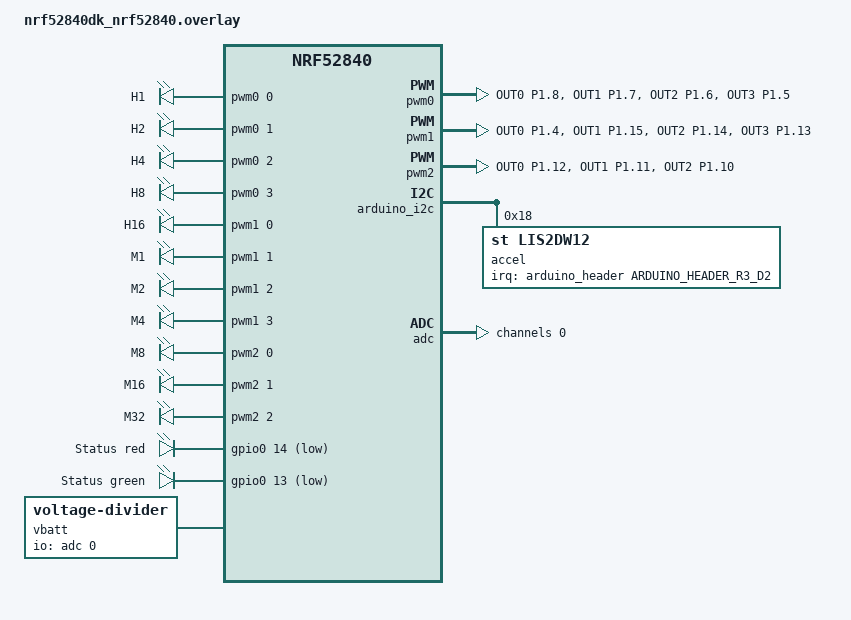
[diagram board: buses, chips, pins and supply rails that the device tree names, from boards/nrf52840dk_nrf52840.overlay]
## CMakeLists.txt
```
# SPDX-License-Identifier: Apache-2.0

cmake_minimum_required(VERSION 3.20.0)

find_package(Zephyr REQUIRED HINTS $ENV{ZEPHYR_BASE})
project(ble_watch)

target_sources(app PRIVATE 
    src/main.c 
    src/clock.c 
    src/ble.c 
    src/face.c 
    src/accel.c 
    src/battery.c 
    src/heartbeat.c
)
```

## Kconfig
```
# Options of this app. They appear in menuconfig under "ble-watch" and are
# set in prj.conf like any Zephyr option (CONFIG_FACE_BRIGHTNESS=...).

menu "ble-watch"

config FACE_BRIGHTNESS
	int "LED face brightness, in percent"
	range 1 100
	default 50
	help
	  PWM duty cycle of a lit face LED. Lower = dimmer and less current.

config HEARTBEAT_PERIOD_S
	int "Heartbeat period, in seconds"
	range 2 3600
	default 60
	help
	  The status LED flashes once per period, in the battery colour.

config HEARTBEAT_FLASH_MS
	int "Heartbeat flash length, in milliseconds"
	range 1 1000
	default 100

config BATTERY_LOW_MV
	int "Low battery voltage, in mV"
	range 3000 4200
	default 3600
	help
	  Below this voltage the heartbeat flashes red (LiPo about < 15 %), otherwise green.

config BATTERY_HYSTERESIS_MV
	int "Low battery hysteresis, in mV"
	range 0 500
	default 50
	help
	  Once red, the heartbeat goes back to green only at or above
	  BATTERY_LOW_MV + this value. Stops red/green flicker when the
	  battery sits right at the threshold.

endmenu

# Zephyr's own options. Every app Kconfig file must end with this.
source "Kconfig.zephyr"
```

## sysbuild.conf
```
# Sysbuild builds several images together. This adds MCUboot as a second image
# that runs first at reset, checks the app's signature, and then starts it.
SB_CONFIG_BOOTLOADER_MCUBOOT=y

# Signature type (also the NCS default on the nRF52840). The image is signed
# with MCUboot's public demo key (root-ec-p256.pem); Step 4b replaces it with our own key.
SB_CONFIG_BOOT_SIGNATURE_TYPE_ECDSA_P256=y
```

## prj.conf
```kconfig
# GPIO driver (accelerometer interrupt, status LED)
CONFIG_GPIO=y

# LED API for the binary face. The PWM LED driver (and the PWM driver) turn on
# by themselves, because the overlay has "pwm-leds" nodes.
CONFIG_LED=y

# LIS2DW12 accelerometer (node in the overlay). The driver (CONFIG_LIS2DW12)
# and I2C turn on by themselves from the devicetree. We add the sensor API, the
# interrupt (trigger) support handled in the system work queue, and tap events.
CONFIG_SENSOR=y
CONFIG_LIS2DW12_TRIGGER_GLOBAL_THREAD=y
CONFIG_LIS2DW12_TAP=y

# Logging, printed on the UART console (DK's USB serial, 115200 baud)
CONFIG_LOG=y
CONFIG_LOG_DEFAULT_LEVEL=3

# Bluetooth LE peripheral (NCS uses Nordic's SoftDevice Controller as the link layer)
CONFIG_BT=y
CONFIG_BT_PERIPHERAL=y
CONFIG_BT_DEVICE_NAME="ble-watch"

# Zephyr's Current Time Service (0x1805); our callbacks are in src/ble.c
CONFIG_BT_CTS=y

# Firmware updates over BLE: MCUmgr with the SMP service, the BT transport and the
# image group (writes the new image to slot 1). NCS helper option from
# nrf/samples/common/mcumgr_bt_ota_dfu. Used with the nRF Connect Device Manager app.
CONFIG_NCS_SAMPLE_MCUMGR_BT_OTA_DFU=y

# Version written in the image header by the signing step; shown in Device Manager.
CONFIG_MCUBOOT_IMGTOOL_SIGN_VERSION="0.1.0+0"
```

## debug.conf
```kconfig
# Extra Kconfig for debugging with GDB. Use it on top of prj.conf:
#   west build -b nrf52840dk/nrf52840 app -p -- -DEXTRA_CONF_FILE=debug.conf

# -Og instead of -Os: code follows the source, variables stay visible
CONFIG_DEBUG_OPTIMIZATIONS=y

# Let the debugger see Zephyr threads, with their names
CONFIG_DEBUG_THREAD_INFO=y
CONFIG_THREAD_NAME=y

# Stop on a failed __ASSERT() instead of running with bad state
CONFIG_ASSERT=y
```

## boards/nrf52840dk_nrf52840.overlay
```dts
/*
 * App overlay for the nRF52840 DK, applied after the board devicetree.
 *
 * Binary LED face: 11 yellow LEDs on the Arduino header, each driven by one
 * PWM channel (wiring: pin -> resistor -> LED -> GND, so "high" = on).
 * Pinout table: docs/hardware.md.
 *
 * PWM pins are set through pinctrl (NRF_PSEL), which takes real nRF pin
 * numbers, not Arduino names. The Arduino name is in each comment.
 *
 * The nRF52840 has 4 PWM instances with 4 channels each. We use 11 channels:
 *   pwm0 ch0-3: hours   bit 0-3
 *   pwm1 ch0:   hours   bit 4
 *   pwm1 ch1-3: minutes bit 0-2
 *   pwm2 ch0-2: minutes bit 3-5
 */

#include <zephyr/dt-bindings/pwm/pwm.h>
#include <zephyr/dt-bindings/gpio/arduino-header-r3.h>
#include <zephyr/dt-bindings/sensor/lis2dw12.h>
#include <zephyr/dt-bindings/adc/adc.h>
#include <zephyr/dt-bindings/adc/nrf-saadc.h>

/*
 * The board uses pwm0 channel 0 for DK LED1 (P0.13), as a "pwm-leds" node.
 * The face needs pwm0, so remove the board's node and its alias. LED1 is
 * the green status LED (node status_led, below).
 */
/delete-node/ &{/pwmleds};

/ {
	aliases {
		/delete-property/ pwm-led0;
	};

	/*
	 * Child order = bit number: the first child is bit 0 (value 1).
	 * 1 ms period = 1 kHz, far too fast to see flicker.
	 */
	hour_leds: hour_leds {
		compatible = "pwm-leds";

		hour_bit0 { pwms = <&pwm0 0 PWM_MSEC(1) PWM_POLARITY_NORMAL>; label = "H1"; };
		hour_bit1 { pwms = <&pwm0 1 PWM_MSEC(1) PWM_POLARITY_NORMAL>; label = "H2"; };
		hour_bit2 { pwms = <&pwm0 2 PWM_MSEC(1) PWM_POLARITY_NORMAL>; label = "H4"; };
		hour_bit3 { pwms = <&pwm0 3 PWM_MSEC(1) PWM_POLARITY_NORMAL>; label = "H8"; };
		hour_bit4 { pwms = <&pwm1 0 PWM_MSEC(1) PWM_POLARITY_NORMAL>; label = "H16"; };
	};

	minute_leds: minute_leds {
		compatible = "pwm-leds";

		minute_bit0 { pwms = <&pwm1 1 PWM_MSEC(1) PWM_POLARITY_NORMAL>; label = "M1"; };
		minute_bit1 { pwms = <&pwm1 2 PWM_MSEC(1) PWM_POLARITY_NORMAL>; label = "M2"; };
		minute_bit2 { pwms = <&pwm1 3 PWM_MSEC(1) PWM_POLARITY_NORMAL>; label = "M4"; };
		minute_bit3 { pwms = <&pwm2 0 PWM_MSEC(1) PWM_POLARITY_NORMAL>; label = "M8"; };
		minute_bit4 { pwms = <&pwm2 1 PWM_MSEC(1) PWM_POLARITY_NORMAL>; label = "M16"; };
		minute_bit5 { pwms = <&pwm2 2 PWM_MSEC(1) PWM_POLARITY_NORMAL>; label = "M32"; };
	};
};

&pinctrl {
	face_pwm0_default: face_pwm0_default {
		group1 {
			psels = <NRF_PSEL(PWM_OUT0, 1, 8)>,	/* D7: H1 */
				<NRF_PSEL(PWM_OUT1, 1, 7)>,	/* D6: H2 */
				<NRF_PSEL(PWM_OUT2, 1, 6)>,	/* D5: H4 */
				<NRF_PSEL(PWM_OUT3, 1, 5)>;	/* D4: H8 */
		};
	};

	face_pwm0_sleep: face_pwm0_sleep {
		group1 {
			psels = <NRF_PSEL(PWM_OUT0, 1, 8)>,
				<NRF_PSEL(PWM_OUT1, 1, 7)>,
				<NRF_PSEL(PWM_OUT2, 1, 6)>,
				<NRF_PSEL(PWM_OUT3, 1, 5)>;
			low-power-enable;
		};
	};

	face_pwm1_default: face_pwm1_default {
		group1 {
			psels = <NRF_PSEL(PWM_OUT0, 1, 4)>,	/* D3:  H16 */
				<NRF_PSEL(PWM_OUT1, 1, 15)>,	/* D13: M1 */
				<NRF_PSEL(PWM_OUT2, 1, 14)>,	/* D12: M2 */
				<NRF_PSEL(PWM_OUT3, 1, 13)>;	/* D11: M4 */
		};
	};

	face_pwm1_sleep: face_pwm1_sleep {
		group1 {
			psels = <NRF_PSEL(PWM_OUT0, 1, 4)>,
				<NRF_PSEL(PWM_OUT1, 1, 15)>,
				<NRF_PSEL(PWM_OUT2, 1, 14)>,
				<NRF_PSEL(PWM_OUT3, 1, 13)>;
			low-power-enable;
		};
	};

	face_pwm2_default: face_pwm2_default {
		group1 {
			psels = <NRF_PSEL(PWM_OUT0, 1, 12)>,	/* D10: M8 */
				<NRF_PSEL(PWM_OUT1, 1, 11)>,	/* D9:  M16 */
				<NRF_PSEL(PWM_OUT2, 1, 10)>;	/* D8:  M32 */
		};
	};

	face_pwm2_sleep: face_pwm2_sleep {
		group1 {
			psels = <NRF_PSEL(PWM_OUT0, 1, 12)>,
				<NRF_PSEL(PWM_OUT1, 1, 11)>,
				<NRF_PSEL(PWM_OUT2, 1, 10)>;
			low-power-enable;
		};
	};
};

&pwm0 {
	status = "okay";
	pinctrl-0 = <&face_pwm0_default>;
	pinctrl-1 = <&face_pwm0_sleep>;
	pinctrl-names = "default", "sleep";
};

&pwm1 {
	status = "okay";
	pinctrl-0 = <&face_pwm1_default>;
	pinctrl-1 = <&face_pwm1_sleep>;
	pinctrl-names = "default", "sleep";
};

&pwm2 {
	status = "okay";
	pinctrl-0 = <&face_pwm2_default>;
	pinctrl-1 = <&face_pwm2_sleep>;
	pinctrl-names = "default", "sleep";
};

/*
 * LIS2DW12 accelerometer breakout on the Arduino I2C (i2c0: D14 = SDA P0.26,
 * D15 = SCL P0.27). The board already enables i2c0 with these pins, so we only
 * add the sensor as a child node. INT1 goes to D2 (P1.03).
 *
 * Address: 0x18, because SDO/SA0 is low on our breakout (measured). High = 0x19.
 *
 * Double-tap settings from ST's application note AN5038 (example values):
 * 400 Hz, +-2 g, threshold 12 on every axis (12 * 2 g / 32 = 750 mg),
 * shock 3, quiet 3, latency 7. At 400 Hz:
 *   shock   3 -> 3 * 8 / 400  = 60 ms   max length of one tap
 *   quiet   3 -> 3 * 4 / 400  = 30 ms   no motion right after a tap
 *   latency 7 -> 7 * 32 / 400 = 560 ms  max time between the two taps
 * Tap events can only go to INT1.
 */
&arduino_i2c {
	accel: lis2dw12@18 {
		compatible = "st,lis2dw12";
		reg = <0x18>;
		irq-gpios = <&arduino_header ARDUINO_HEADER_R3_D2 GPIO_ACTIVE_HIGH>;
		int-pin = <1>;
		range = <2>;
		odr = <400>;
		power-mode = <LIS2DW12_DT_HP_MODE>;
		low-noise;
		tap-mode = <LIS2DW12_DT_SINGLE_DOUBLE_TAP>;
		tap-threshold = <12>, <12>, <12>;
		tap-shock = <3>;
		tap-quiet = <3>;
		tap-latency = <7>;
	};
};

/*
 * Power: by default an edge interrupt uses a GPIOTE channel, which keeps a
 * high-frequency clock running in sleep. The SENSE mechanism wakes the CPU
 * on a pin level change with almost no current. P1.03 = bit 3 of gpio1.
 */
&gpio1 {
	sense-edge-mask = <(1 << 3)>;
};

/*
 * The board's own "leds" node uses the same pins (LED1-LED4). Disable it, so
 * only one LED driver owns P0.13 and P0.14.
 */
&{/leds} {
	status = "disabled";
};

/*
 * Heartbeat: a red and a green LED that flash once a minute, showing the
 * battery level. Plain GPIOs, no PWM: on the watch the low brightness comes
 * from the resistors.
 * Child order = LED index used in heartbeat.c: 0 red, 1 green.
 *
 * DK: the DK's own LEDs stand in for them (both are green on the board):
 *   green = LED1 (P0.13), red = LED2 (P0.14). They are wired from VDD to the
 *   pin, so they light when the pin is low: GPIO_ACTIVE_LOW. The LED API
 *   hides this: led_on() still means "on".
 */
/ {
	status_led: status_led {
		compatible = "gpio-leds";

		status_red   { gpios = <&gpio0 14 GPIO_ACTIVE_LOW>; label = "Status red"; };   /* DK LED2 */
		status_green { gpios = <&gpio0 13 GPIO_ACTIVE_LOW>; label = "Status green"; }; /* DK LED1 */
	};

	/*
	 * Battery voltage through a divider: VBAT -[1M]- AIN -[1M]- GND, with
	 * 100 nF from AIN to GND. Always on: 4.2 V / 2 MOhm = 2.1 uA.
	 * The driver multiplies the ADC reading by full-ohms / output-ohms = 2.
	 * DK: no battery; a potentiometer (VDD..GND) on A0 stands in for VBAT / 2.
	 */
	vbatt: vbatt {
		compatible = "voltage-divider";
		io-channels = <&adc 0>;
		output-ohms = <1000000>;
		full-ohms = <(1000000 + 1000000)>;
	};
};

/*
 * SAADC channel 0 on AIN1 = P0.03 = Arduino A0.
 * Gain 1/6 with the 0.6 V internal reference = 3.6 V full scale.
 * The divider is high-impedance (500 kOhm seen by the ADC), so it needs
 * the long 40 us acquisition time (the 100 nF also helps).
 * Oversampling 2 = each result is the average of 2^2 = 4 conversions, to
 * smooth out noise (about 4 x 42 us, still far below 1 ms).
 */
&adc {
	#address-cells = <1>;
	#size-cells = <0>;

	channel@0 {
		reg = <0>;
		zephyr,gain = "ADC_GAIN_1_6";
		zephyr,reference = "ADC_REF_INTERNAL";
		zephyr,acquisition-time = <ADC_ACQ_TIME(ADC_ACQ_TIME_MICROSECONDS, 40)>;
		zephyr,input-positive = <NRF_SAADC_AIN1>;
		zephyr,resolution = <12>;
		zephyr,oversampling = <2>;
	};
};
```

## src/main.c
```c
/*
 * ble-watch: binary LED face test at boot, a clock that logs HH:MM at each
 * new minute and is set over BLE (Current Time Service), a double-tap on the
 * accelerometer that shows the time for a few seconds, and red/green heartbeat
 * LEDs that flash once a minute to show the battery level.
 */

#include <stdio.h>

#include <zephyr/kernel.h>
#include <zephyr/logging/log.h>

#include "accel.h"
#include "ble.h"
#include "clock.h"
#include "face.h"
#include "heartbeat.h"

LOG_MODULE_REGISTER(main, LOG_LEVEL_INF);

#define WALK_STEP_MS 200  /* per LED in the boot test */
#define SHOW_TIME_MS 5000 /* how long the time stays on */

/*
 * Boot test pattern: light each LED alone, hours 1..16 then minutes 1..32.
 * Then show the time, then off.
 */
static void faceTest(void) {
  for (int i = 0; i < 5; i++) {
    faceShowBits(BIT(i), 0);
    k_msleep(WALK_STEP_MS);
  }
  for (int i = 0; i < 6; i++) {
    faceShowBits(0, BIT(i));
    k_msleep(WALK_STEP_MS);
  }

  uint32_t now = clockNow();

  LOG_INF("Face shows %02u:%02u", now / 3600, (now / 60) % 60);
  faceShowTime(now / 3600, (now / 60) % 60);
  k_msleep(SHOW_TIME_MS);
  faceOff();
}

static void faceOffHandler(struct k_work *work) {
  ARG_UNUSED(work);
  faceOff();
  heartbeatHide();
}

K_WORK_DELAYABLE_DEFINE(face_off_work, faceOffHandler);

/*
 * Double-tap: show the time and the heartbeat LED.
 */
static void onDoubleTap(void) {
  uint32_t now = clockNow();

  heartbeatShow();

  LOG_INF("Face shows %02u:%02u", now / 3600, (now / 60) % 60);
  faceShowTime(now / 3600, (now / 60) % 60);
  k_work_reschedule(&face_off_work, K_MSEC(SHOW_TIME_MS));
}

/* Start time = build time ("HH:MM:SS" from the compiler), until the phone sets it over BLE. */
static void clockSetFromBuildTime(void) {
  unsigned int h, m, s;

  if (sscanf(__TIME__, "%u:%u:%u", &h, &m, &s) == 3) {
    clockSet(h, m, s);
  } else {
    clockSet(0, 0, 0);
  }
}

int main(void) {
  LOG_INF("ble-watch starting on %s", CONFIG_BOARD_TARGET);

  clockSetFromBuildTime();

  if (faceInit() == 0) {
    faceTest();
  }

  /* Heartbeat: shows that the app runs, and the battery level. */
  heartbeatInit();

  /* If the accelerometer is missing, the rest still runs. */
  accelInit(onDoubleTap);

  /* If BLE fails, the clock still runs from the build time. */
  bleInit();

  while (1) {
    /*
     * Sleep until hh:mm:00, or until the time is set (at boot or
     * from the phone). The thread uses no CPU while it waits.
     */
    clockWaitNextMinute();

    uint32_t now = clockNow();

    LOG_INF("Time %02u:%02u (uptime %lld s)", now / 3600, (now / 60) % 60, k_uptime_get() / MSEC_PER_SEC);
  }

  return 0;
}
```

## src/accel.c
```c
/*
 * Double-tap detection with the Zephyr sensor API.
 *
 * The LIS2DW12 detects the double-tap by itself and raises INT1. The driver
 * catches the GPIO interrupt, reads the sensor's interrupt sources over I2C
 * in the system work queue, and calls our trigger handler. The CPU does
 * nothing in between: no polling.
 */

#include <zephyr/kernel.h>
#include <zephyr/device.h>
#include <zephyr/devicetree.h>
#include <zephyr/drivers/sensor.h>
#include <zephyr/logging/log.h>

#include "accel.h"

LOG_MODULE_REGISTER(accel, LOG_LEVEL_INF);

static const struct device *const Accel = DEVICE_DT_GET(DT_NODELABEL(accel));

static accel_double_tap_cb_t double_tap_cb;

/* Must stay valid after sensor_trigger_set(): the driver keeps a pointer. */
static const struct sensor_trigger DoubleTapTrig = {
  .type = SENSOR_TRIG_DOUBLE_TAP,
  .chan = SENSOR_CHAN_ACCEL_XYZ,
};

static void doubleTapHandler(const struct device *dev, const struct sensor_trigger *trig) {
  ARG_UNUSED(dev);
  ARG_UNUSED(trig);

  LOG_INF("Double-tap");

  if (double_tap_cb != NULL) {
    double_tap_cb();
  }
}

int accelInit(accel_double_tap_cb_t cb) {
  int ret;

  /* False if the driver's init failed, e.g. no answer on I2C (wiring, address). */
  if (!device_is_ready(Accel)) {
    LOG_ERR("%s not ready (check wiring and I2C address)", Accel->name);
    return -ENODEV;
  }

  double_tap_cb = cb;

  ret = sensor_trigger_set(Accel, &DoubleTapTrig, doubleTapHandler);
  if (ret < 0) {
    LOG_ERR("Double-tap trigger: %d", ret);
    return ret;
  }

  LOG_INF("%s ready, waiting for a double-tap", Accel->name);

  return 0;
}
```

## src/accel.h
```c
/*
 * LIS2DW12 accelerometer: double-tap detection (see the overlay for settings).
 */

#ifndef BLE_WATCH_ACCEL_H_
#define BLE_WATCH_ACCEL_H_

/* Called on each double-tap, from the system work queue (thread context). */
typedef void (*accel_double_tap_cb_t)(void);

/* Check the sensor is ready and start double-tap detection. */
int accelInit(accel_double_tap_cb_t cb);

#endif /* BLE_WATCH_ACCEL_H_ */
```

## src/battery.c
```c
/*
 * Battery voltage with Zephyr's "voltage-divider" sensor driver.
 *
 * The driver owns the ADC channel from the overlay. sensor_sample_fetch()
 * runs one SAADC conversion; sensor_channel_get() converts it to volts and
 * scales it by the divider ratio (full-ohms / output-ohms), so we get VBAT.
 */

#include <zephyr/kernel.h>
#include <zephyr/device.h>
#include <zephyr/devicetree.h>
#include <zephyr/drivers/sensor.h>
#include <zephyr/logging/log.h>

#include "battery.h"

LOG_MODULE_REGISTER(battery, LOG_LEVEL_INF);

static const struct device *const Divider = DEVICE_DT_GET(DT_NODELABEL(vbatt));

int batteryInit(void) {
  if (!device_is_ready(Divider)) {
    LOG_ERR("%s not ready", Divider->name);
    return -ENODEV;
  }

  return 0;
}

int batteryReadMv(int32_t *mv) {
  struct sensor_value val;
  int ret;

  /* Its init failed (e.g. bad ADC channel config): don't call the driver. */
  if (!device_is_ready(Divider)) {
    return -ENODEV;
  }

  ret = sensor_sample_fetch_chan(Divider, SENSOR_CHAN_VOLTAGE);
  if (ret < 0) {
    LOG_ERR("Battery fetch: %d", ret);
    return ret;
  }

  ret = sensor_channel_get(Divider, SENSOR_CHAN_VOLTAGE, &val);
  if (ret < 0) {
    LOG_ERR("Battery get: %d", ret);
    return ret;
  }

  *mv = (int32_t)sensor_value_to_milli(&val);

  return 0;
}
```

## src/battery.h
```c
/*
 * Battery voltage, measured with the SAADC through a resistor divider.
 */

#ifndef BLE_WATCH_BATTERY_H_
#define BLE_WATCH_BATTERY_H_

#include <stdint.h>

/* Check that the divider and its ADC are ready. */
int batteryInit(void);

/* Measure the battery now. Thread context only (it waits for the ADC). */
int batteryReadMv(int32_t *mv);

#endif /* BLE_WATCH_BATTERY_H_ */
```

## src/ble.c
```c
/*
 * BLE peripheral: advertises as CONFIG_BT_DEVICE_NAME and exposes the
 * Current Time Service (CTS, UUID 0x1805) from Zephyr (CONFIG_BT_CTS).
 * Writing the Current Time characteristic (0x2A2B) sets our clock.
 */

#include <zephyr/kernel.h>
#include <zephyr/bluetooth/bluetooth.h>
#include <zephyr/bluetooth/conn.h>
#include <zephyr/bluetooth/uuid.h>
#include <zephyr/bluetooth/services/cts.h>
#include <zephyr/logging/log.h>

#include "ble.h"
#include "clock.h"

LOG_MODULE_REGISTER(ble, LOG_LEVEL_INF);

/* Advertising packet: flags + "I have a Current Time Service". */
static const struct bt_data Ad[] = {
  BT_DATA_BYTES(BT_DATA_FLAGS, (BT_LE_AD_GENERAL | BT_LE_AD_NO_BREDR)),
  BT_DATA_BYTES(BT_DATA_UUID16_ALL, BT_UUID_16_ENCODE(BT_UUID_CTS_VAL)),
};

/* Scan response: the device name, sent when the phone asks for more. */
static const struct bt_data Sd[] = {
  BT_DATA(BT_DATA_NAME_COMPLETE, CONFIG_BT_DEVICE_NAME, sizeof(CONFIG_BT_DEVICE_NAME) - 1),
};

/* Local Time Information (time zone, DST): stored, but not used for HH:MM. */
static struct bt_cts_local_time local_time = {
  .timezone_offset = BT_CTS_TIMEZONE_DEFAULT_VALUE,
  .dst_offset = BT_CTS_DST_OFFSET_UNKNOWN,
};

static void advStart(void) {
  int err = bt_le_adv_start(BT_LE_ADV_CONN_FAST_1, Ad, ARRAY_SIZE(Ad), Sd, ARRAY_SIZE(Sd));

  if (err) {
    LOG_ERR("Advertising failed to start: %d", err);
    return;
  }
  LOG_INF("Advertising as \"%s\"", CONFIG_BT_DEVICE_NAME);
}

/* Restart advertising from a work item, not from inside the BT callback. */
static void advWorkHandler(struct k_work *work) {
  ARG_UNUSED(work);
  advStart();
}

static K_WORK_DEFINE(adv_work, advWorkHandler);

static void onConnected(struct bt_conn *conn, uint8_t err) {
  char addr[BT_ADDR_LE_STR_LEN];

  bt_addr_le_to_str(bt_conn_get_dst(conn), addr, sizeof(addr));
  if (err) {
    LOG_WRN("Connection to %s failed: 0x%02x", addr, err);
    return;
  }
  LOG_INF("Connected: %s", addr);
}

static void onDisconnected(struct bt_conn *conn, uint8_t reason) {
  LOG_INF("Disconnected, reason 0x%02x", reason);
}

/* The connection object is free again: now we can advertise for a new one. */
static void onRecycled(void) {
  k_work_submit(&adv_work);
}

BT_CONN_CB_DEFINE(conn_callbacks) = {
  .connected = onConnected,
  .disconnected = onDisconnected,
  .recycled = onRecycled,
};

/* Phone wrote Current Time: 10 bytes, we only use hours, minutes and seconds. */
static int ctsTimeWrite(struct bt_cts_time_format *t) {
  if (t->hours > 23 || t->min > 59 || t->sec > 59) {
    LOG_WRN("Rejected time %u:%u:%u", t->hours, t->min, t->sec);
    return -EINVAL;
  }

  clockSet(t->hours, t->min, t->sec);
  return 0;
}

/* Phone reads Current Time. We don't track the date: 0 means "unknown" in CTS. */
static int ctsFillTime(struct bt_cts_time_format *t) {
  uint32_t now = clockNow();

  *t = (struct bt_cts_time_format) {
    .hours = now / 3600,
    .min = (now / 60) % 60,
    .sec = now % 60,
  };
  return 0;
}

static int ctsLocalTimeWrite(const struct bt_cts_local_time *lt) {
  local_time = *lt;
  return 0;
}

static int ctsFillLocalTime(struct bt_cts_local_time *lt) {
  *lt = local_time;
  return 0;
}

static const struct bt_cts_cb CtsCb = {
  .cts_time_write = ctsTimeWrite,
  .fill_current_cts_time = ctsFillTime,
  .cts_local_time_write = ctsLocalTimeWrite,
  .fill_current_cts_local_time = ctsFillLocalTime,
};

int bleInit(void) {
  int err;

  err = bt_cts_init(&CtsCb);
  if (err) {
    LOG_ERR("CTS init failed: %d", err);
    return err;
  }

  err = bt_enable(NULL);
  if (err) {
    LOG_ERR("Bluetooth init failed: %d", err);
    return err;
  }

  advStart();
  return 0;
}
```

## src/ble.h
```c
/*
 * BLE peripheral with the Current Time Service.
 */

#ifndef BLE_WATCH_BLE_H_
#define BLE_WATCH_BLE_H_

/* Enable Bluetooth, register CTS and start advertising. */
int bleInit(void);

#endif /* BLE_WATCH_BLE_H_ */
```

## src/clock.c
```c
/*
 * Time of day = (time set by the user) + (uptime since it was set).
 *
 * Uptime comes from the Zephyr system timer. On the nRF52840 that is RTC1,
 * clocked by the 32.768 kHz crystal on the DK (CONFIG_CLOCK_CONTROL_NRF_K32SRC_XTAL).
 * The RTC keeps running in sleep, so no extra hardware timer is needed.
 */

#include <zephyr/kernel.h>
#include <zephyr/logging/log.h>

#include "clock.h"

LOG_MODULE_REGISTER(clock, LOG_LEVEL_INF);

/* Time of day (in ms since midnight) at the moment clockSet() was called. */
static int64_t base_ms;
/* k_uptime_get() at the moment clockSet() was called. */
static int64_t base_uptime_ms;

/*
 * clockSet() runs in the Bluetooth thread, clockNow() in the main thread.
 * The lock makes sure nobody reads base_ms and base_uptime_ms half-updated.
 */
static struct k_spinlock lock;

/* Given by clockSet() to wake clockWaitNextMinute() early. */
static K_SEM_DEFINE(time_changed, 0, 1);

static int64_t nowMs(void) {
  k_spinlock_key_t key = k_spin_lock(&lock);
  int64_t elapsed = k_uptime_get() - base_uptime_ms;
  int64_t ms = (base_ms + elapsed) % ((int64_t)CLOCK_SECONDS_PER_DAY * MSEC_PER_SEC);

  k_spin_unlock(&lock, key);
  return ms;
}

void clockSet(uint8_t hours, uint8_t minutes, uint8_t seconds) {
  k_spinlock_key_t key = k_spin_lock(&lock);

  base_uptime_ms = k_uptime_get();
  base_ms = ((hours % 24) * 3600 + (minutes % 60) * 60 + (seconds % 60)) * (int64_t)MSEC_PER_SEC;
  k_spin_unlock(&lock, key);

  k_sem_give(&time_changed);

  LOG_INF("Time set to %02u:%02u:%02u", hours % 24, minutes % 60, seconds % 60);
}

uint32_t clockNow(void) {
  return (uint32_t)(nowMs() / MSEC_PER_SEC);
}

uint32_t clockMsToNextMinute(void) {
  return 60 * MSEC_PER_SEC - (uint32_t)(nowMs() % (60 * MSEC_PER_SEC));
}

bool clockWaitNextMinute(void) {
  return k_sem_take(&time_changed, K_MSEC(clockMsToNextMinute())) == 0;
}
```

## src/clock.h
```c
/*
 * Wall-clock time of day, counted from the Zephyr system timer.
 */

#ifndef BLE_WATCH_CLOCK_H_
#define BLE_WATCH_CLOCK_H_

#include <stdbool.h>
#include <stdint.h>

#define CLOCK_SECONDS_PER_DAY (24 * 60 * 60)

/* Set the current time of day. */
void clockSet(uint8_t hours, uint8_t minutes, uint8_t seconds);

/* Seconds since midnight, 0 .. CLOCK_SECONDS_PER_DAY - 1. */
uint32_t clockNow(void);

/* Milliseconds until the next full minute (00 seconds). */
uint32_t clockMsToNextMinute(void);

/*
 * Block until the next full minute, or until clockSet() is called.
 * Returns true if it woke up because the time was set.
 */
bool clockWaitNextMinute(void);

#endif /* BLE_WATCH_CLOCK_H_ */
```

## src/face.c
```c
/*
 * Binary LED face on top of the Zephyr LED API.
 *
 * Each "pwm-leds" node in the overlay becomes one LED device, and its child
 * nodes are LEDs 0, 1, 2, ... in order. We order the children by bit, so
 * LED index == bit number.
 */

#include <zephyr/kernel.h>
#include <zephyr/device.h>
#include <zephyr/devicetree.h>
#include <zephyr/drivers/led.h>
#include <zephyr/logging/log.h>

#include "face.h"

LOG_MODULE_REGISTER(face, LOG_LEVEL_INF);

#define HOUR_LEDS_NODE   DT_NODELABEL(hour_leds)
#define MINUTE_LEDS_NODE DT_NODELABEL(minute_leds)

#define HOUR_BITS   DT_CHILD_NUM(HOUR_LEDS_NODE)
#define MINUTE_BITS DT_CHILD_NUM(MINUTE_LEDS_NODE)

/* Wrong number of LEDs in the overlay = build error, not a runtime bug. */
BUILD_ASSERT(HOUR_BITS == 5, "hour_leds needs 5 LEDs (16 8 4 2 1)");
BUILD_ASSERT(MINUTE_BITS == 6, "minute_leds needs 6 LEDs (32 16 8 4 2 1)");

static const struct device *const HourLeds = DEVICE_DT_GET(HOUR_LEDS_NODE);
static const struct device *const MinuteLeds = DEVICE_DT_GET(MINUTE_LEDS_NODE);

/* Set one row of LEDs from a bit pattern. Keeps going on error. */
static int showRow(const struct device *leds, unsigned int count, uint8_t bits) {
  int err = 0;

  for (unsigned int i = 0; i < count; i++) {
    uint8_t level = (bits & BIT(i)) ? CONFIG_FACE_BRIGHTNESS : 0;
    int ret = led_set_brightness(leds, i, level);

    if (ret < 0) {
      LOG_ERR("%s LED %u: %d", leds->name, i, ret);
      err = ret;
    }
  }

  return err;
}

int faceShowBits(uint8_t hour_bits, uint8_t minute_bits) {
  int ret_h = showRow(HourLeds, HOUR_BITS, hour_bits);
  int ret_m = showRow(MinuteLeds, MINUTE_BITS, minute_bits);

  return ret_h < 0 ? ret_h : ret_m;
}

int faceShowTime(uint8_t hours, uint8_t minutes) {
  return faceShowBits(hours % 24, minutes % 60);
}

int faceOff(void) {
  return faceShowBits(0, 0);
}

int faceInit(void) {
  if (!device_is_ready(HourLeds) || !device_is_ready(MinuteLeds)) {
    LOG_ERR("LED devices not ready");
    return -ENODEV;
  }

  LOG_INF("Face ready: %u hour + %u minute LEDs, brightness %d %%", HOUR_BITS, MINUTE_BITS, CONFIG_FACE_BRIGHTNESS);

  return faceOff();
}
```

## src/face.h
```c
/*
 * Binary LED face: 5 hour LEDs and 6 minute LEDs (PWM LEDs, see the overlay).
 */

#ifndef BLE_WATCH_FACE_H_
#define BLE_WATCH_FACE_H_

#include <stdint.h>

/* Check that the LED devices are ready. Leaves all LEDs off. */
int faceInit(void);

/* Light the raw bit patterns: bit 0 of each byte is the "1" LED. */
int faceShowBits(uint8_t hour_bits, uint8_t minute_bits);

/* Show a time of day in binary (hours 0-23, minutes 0-59). */
int faceShowTime(uint8_t hours, uint8_t minutes);

/* All LEDs off. With every channel at 0 %, the PWM peripherals stop. */
int faceOff(void);

#endif /* BLE_WATCH_FACE_H_ */
```

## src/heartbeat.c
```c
/*
 * Heartbeat LED on top of the Zephyr LED API ("gpio-leds" node status_led).
 *
 * Two ways to light it, both in the battery colour (green OK, red low):
 *
 * 1. Periodic flash. One delayable work item, one step per run:
 *      off -> measure the battery, LED on, wait CONFIG_HEARTBEAT_FLASH_MS
 *      on  -> LED off, wait the rest of CONFIG_HEARTBEAT_PERIOD_S
 *
 * 2. With the face (heartbeatShow() / heartbeatHide(), called on a
 *    double-tap). The periodic flash stops, the LED stays on while the face
 *    is lit, and the next periodic flash comes a full period after
 *    heartbeatHide().
 *
 * The battery is always measured with the face off: before the face lights
 * up, and the periodic flash never runs while the face is lit. So the 11
 * face LEDs' current can't pull the reading down.
 *
 * Red below CONFIG_BATTERY_LOW_MV; back to green only at
 * CONFIG_BATTERY_LOW_MV + CONFIG_BATTERY_HYSTERESIS_MV. If a reading fails,
 * the error is logged and the last colour is kept.
 *
 * Everything runs in the system work queue (the double-tap handler and
 * face_off_work too), one item at a time, so the state needs no lock.
 */

#include <zephyr/kernel.h>
#include <zephyr/device.h>
#include <zephyr/devicetree.h>
#include <zephyr/drivers/led.h>
#include <zephyr/logging/log.h>

#include "battery.h"
#include "heartbeat.h"

LOG_MODULE_REGISTER(heartbeat, LOG_LEVEL_INF);

#define STATUS_LED_NODE DT_NODELABEL(status_led)

#define PERIOD_MS (CONFIG_HEARTBEAT_PERIOD_S * MSEC_PER_SEC)

BUILD_ASSERT(DT_CHILD_NUM(STATUS_LED_NODE) == 2, "status_led needs 2 LEDs (red, green)");
BUILD_ASSERT(CONFIG_HEARTBEAT_FLASH_MS < PERIOD_MS, "flash longer than period");

/* LED index = child order in the overlay. A colour is a mask of these bits. */
#define COLOR_RED   BIT(0)
#define COLOR_GREEN BIT(1)
#define COLOR_OFF   0

static const struct device *const StatusLed = DEVICE_DT_GET(STATUS_LED_NODE);

static bool ready;      /* heartbeatInit() succeeded */
static bool lit;        /* the LED is on (periodic flash or with the face) */
static bool held;       /* on with the face, between Show and Hide */
static bool batteryLow; /* last result, with hysteresis */

static void setColor(uint8_t color) {
  for (uint32_t i = 0; i < DT_CHILD_NUM(STATUS_LED_NODE); i++) {
    int ret = (color & BIT(i)) ? led_on(StatusLed, i) : led_off(StatusLed, i);

    if (ret < 0) {
      LOG_ERR("Status LED %u: %d", i, ret);
    }
  }
}

/* Measure the battery and update batteryLow. */
static void measureBattery(void) {
  int32_t mv;

  if (batteryReadMv(&mv) < 0) {
    return;
  }

  LOG_INF("Battery %d mV", mv);

  /*
   * Hysteresis: two thresholds instead of one. A battery at 3.60 V reads
   * 3.598 V one minute and 3.602 V the next; with one threshold the LED
   * would switch colour every minute.
   */
  if (batteryLow) {
    batteryLow = mv < CONFIG_BATTERY_LOW_MV + CONFIG_BATTERY_HYSTERESIS_MV;
  } else {
    batteryLow = mv < CONFIG_BATTERY_LOW_MV;
  }
}

static uint8_t batteryColor(void) {
  return batteryLow ? COLOR_RED : COLOR_GREEN;
}

static void heartbeatHandler(struct k_work *work) {
  struct k_work_delayable *dwork = k_work_delayable_from_work(work);

  if (lit) {
    setColor(COLOR_OFF);
    lit = false;
    k_work_schedule(dwork, K_MSEC(PERIOD_MS - CONFIG_HEARTBEAT_FLASH_MS));
  } else {
    measureBattery();
    setColor(batteryColor());
    lit = true;
    k_work_schedule(dwork, K_MSEC(CONFIG_HEARTBEAT_FLASH_MS));
  }
}

static K_WORK_DELAYABLE_DEFINE(heartbeat_work, heartbeatHandler);

void heartbeatShow(void) {
  if (!ready) {
    return;
  }

  /* Stop the periodic flash. Same work queue, so it isn't running now. */
  k_work_cancel_delayable(&heartbeat_work);

  if (held) {
    return; /* face already lit: don't measure under its load */
  }

  /* During a periodic flash the battery was measured just now. */
  if (!lit) {
    measureBattery();
  }

  held = true;
  lit = true;
  setColor(batteryColor());
}

void heartbeatHide(void) {
  if (!ready || !held) {
    return;
  }

  setColor(COLOR_OFF);
  held = false;
  lit = false;

  /* Next periodic flash a full period from now. */
  k_work_schedule(&heartbeat_work, K_MSEC(PERIOD_MS));
}

int heartbeatInit(void) {
  if (!device_is_ready(StatusLed)) {
    LOG_ERR("Status LED not ready");
    return -ENODEV;
  }

  batteryInit();

  setColor(COLOR_OFF);
  ready = true;
  k_work_schedule(&heartbeat_work, K_NO_WAIT);

  LOG_INF("Heartbeat every %d s", CONFIG_HEARTBEAT_PERIOD_S);

  return 0;
}
```

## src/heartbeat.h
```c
/*
 * Heartbeat: a red and a green status LED that flash once a minute, showing
 * the battery level (see the overlay and Kconfig for the settings).
 * Call these from the system work queue only (like the double-tap handler).
 */

#ifndef BLE_WATCH_HEARTBEAT_H_
#define BLE_WATCH_HEARTBEAT_H_

/* Check the LED and the battery, then start flashing (first flash now). */
int heartbeatInit(void);

/*
 * The face is about to light up: measure the battery (face still off), then
 * keep the LED on in the battery colour until heartbeatHide().
 */
void heartbeatShow(void);

/* The face is off: LED off, next periodic flash a full period from now. */
void heartbeatHide(void);

#endif /* BLE_WATCH_HEARTBEAT_H_ */
```
